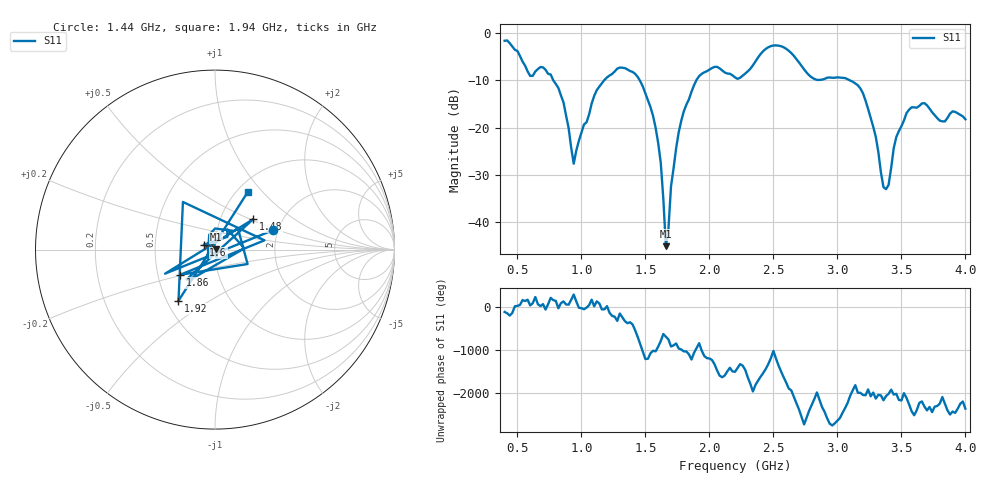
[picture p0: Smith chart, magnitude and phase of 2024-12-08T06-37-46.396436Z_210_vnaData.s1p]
!Created with skrf (http://scikit-rf.org).
# Hz S RI R 50.0
!freq ReS11 ImS11
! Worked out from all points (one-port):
!   181 points, 400 MHz to 4 GHz, reference 50 ohm
!   lowest |S11| = -45.1 dB at 1.66 GHz (marker M1), VSWR 1.01, Z = 50.5 + j0.241 ohm
!   |S11| at or under -10 dB: 780 MHz to 1.178 GHz (398 MHz wide, 40.7 % of centre); 1.455 GHz to 1.898 GHz (442.8 MHz wide, 26.4 % of centre); 3.096 GHz to end of sweep
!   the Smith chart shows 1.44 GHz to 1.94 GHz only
!   S11 on the Smith chart (normalised r, x): 1.44 GHz: 1.89, +0.47; 1.48 GHz: 1.43, +0.52; 1.6 GHz: 0.88, +0.05; 1.86 GHz: 0.65, -0.19; 1.92 GHz: 0.57, -0.37; 1.94 GHz: 1.12, +0.83
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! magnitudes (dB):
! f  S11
! 400 MHz  -1.6
! 600 MHz  -9.1
! 760 MHz  -8.8
! 860 MHz  -14.7
! 940 MHz  -27.6
! 1.12 GHz  -12.1
! 1.3 GHz  -7.3
! 1.44 GHz  -9.3
! 1.48 GHz  -11.3
! 1.6 GHz  -23.3
! 1.62 GHz  -27.5
! 1.66 GHz  -45.1
! 1.68 GHz  -41.4
! 1.7 GHz  -32.4
! 1.76 GHz  -21.0
! 1.86 GHz  -12.4
! 1.92 GHz  -9.1
! 1.94 GHz  -8.6
! 2.2 GHz  -9.4
! 2.48 GHz  -2.8
! 2.66 GHz  -4.8
! 2.82 GHz  -9.7
! 3.1 GHz  -10.1
! 3.22 GHz  -14.3
! 3.38 GHz  -33.0
! 3.46 GHz  -22.0
! 3.56 GHz  -16.2
! 4 GHz  -18.2
